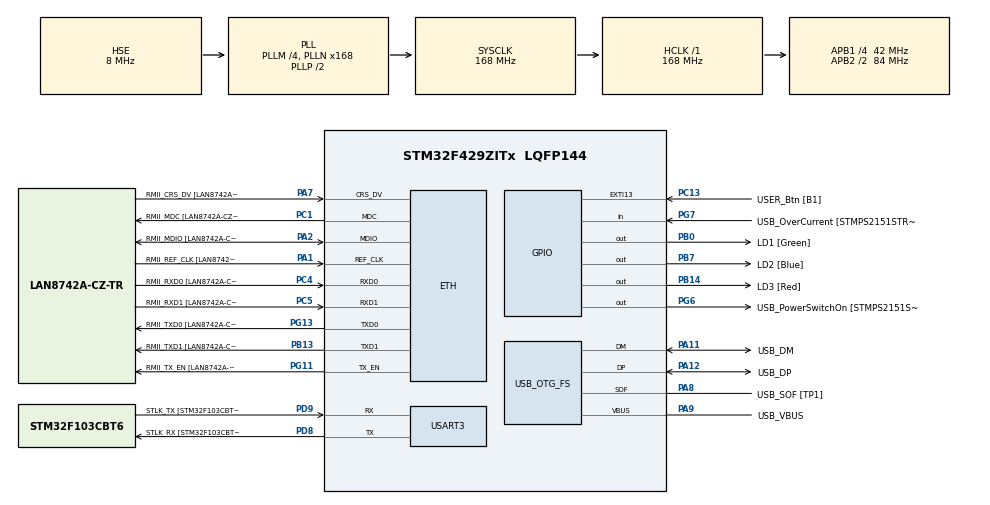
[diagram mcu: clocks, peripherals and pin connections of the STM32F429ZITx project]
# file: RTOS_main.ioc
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ETH.MediaInterface=HAL_ETH_RMII_MODE
ETH.PHY_Name=LAN8742A_PHY_ADDRESS
ETH.PHY_Value=0
ETH.PhyAddress=0
FREERTOS.Tasks01=defaultTask,24,128,StartDefaultTask,Default,NULL,Dynamic,NULL,NULL
Mcu.Family=STM32F4
Mcu.Name=STM32F429ZITx
Mcu.Package=LQFP144
NVIC.PriorityGroup=NVIC_PRIORITYGROUP_4
PA1.GPIO_Label=RMII_REF_CLK [LAN8742A-CZ-TR_REFCLK0]
PA1.Mode=RMII
PA1.Signal=ETH_REF_CLK
PA10.GPIO_Label=USB_ID
PA10.Signal=USB_OTG_FS_ID
PA11.GPIO_Label=USB_DM
PA11.Mode=Device_Only
PA11.Signal=USB_OTG_FS_DM
PA12.GPIO_Label=USB_DP
PA12.Mode=Device_Only
PA12.Signal=USB_OTG_FS_DP
PA13.GPIO_Label=TMS
PA13.Mode=Serial_Wire
PA13.Signal=SYS_JTMS-SWDIO
PA14.GPIO_Label=TCK
PA14.Mode=Serial_Wire
PA14.Signal=SYS_JTCK-SWCLK
PA2.GPIO_Label=RMII_MDIO [LAN8742A-CZ-TR_MDIO]
PA2.Mode=RMII
PA2.Signal=ETH_MDIO
PA7.GPIO_Label=RMII_CRS_DV [LAN8742A-CZ-TR_CRS_DV]
PA7.Mode=RMII
PA7.Signal=ETH_CRS_DV
PA8.GPIO_Label=USB_SOF [TP1]
PA8.Mode=Activate_SOF_FS
PA8.Signal=USB_OTG_FS_SOF
PA9.GPIO_Label=USB_VBUS
PA9.Mode=Activate_VBUS
PA9.Signal=USB_OTG_FS_VBUS
PB0.GPIO_Label=LD1 [Green]
PB0.Signal=GPIO_Output
PB13.GPIO_Label=RMII_TXD1 [LAN8742A-CZ-TR_TXD1]
PB13.Mode=RMII
PB13.Signal=ETH_TXD1
PB14.GPIO_Label=LD3 [Red]
PB14.Signal=GPIO_Output
PB7.GPIO_Label=LD2 [Blue]
PB7.Signal=GPIO_Output
PC1.GPIO_Label=RMII_MDC [LAN8742A-CZ-TR_MDC]
PC1.Mode=RMII
PC1.Signal=ETH_MDC
PC13.GPIO_Label=USER_Btn [B1]
PC13.Signal=GPXTI13
PC14/OSC32_IN.Mode=LSE-External-Oscillator
PC14/OSC32_IN.Signal=RCC_OSC32_IN
PC15/OSC32_OUT.Mode=LSE-External-Oscillator
PC15/OSC32_OUT.Signal=RCC_OSC32_OUT
PC4.GPIO_Label=RMII_RXD0 [LAN8742A-CZ-TR_RXD0]
PC4.Mode=RMII
PC4.Signal=ETH_RXD0
PC5.GPIO_Label=RMII_RXD1 [LAN8742A-CZ-TR_RXD1]
PC5.Mode=RMII
PC5.Signal=ETH_RXD1
PD8.GPIO_Label=STLK_RX [STM32F103CBT6_PA3]
PD8.Mode=Asynchronous
PD8.Signal=USART3_TX
PD9.GPIO_Label=STLK_TX [STM32F103CBT6_PA2]
PD9.Mode=Asynchronous
PD9.Signal=USART3_RX
PG11.GPIO_Label=RMII_TX_EN [LAN8742A-CZ-TR_TXEN]
PG11.Mode=RMII
PG11.Signal=ETH_TX_EN
PG13.GPIO_Label=RMII_TXD0 [LAN8742A-CZ-TR_TXD0]
PG13.Mode=RMII
PG13.Signal=ETH_TXD0
PG6.GPIO_Label=USB_PowerSwitchOn [STMPS2151STR_EN]
PG6.Signal=GPIO_Output
PG7.GPIO_Label=USB_OverCurrent [STMPS2151STR_FAULT]
PG7.Signal=GPIO_Input
PH0/OSC_IN.GPIO_Label=MCO [STM32F103CBT6_PA8]
PH0/OSC_IN.Mode=HSE-External-Clock-Source
PH0/OSC_IN.Signal=RCC_OSC_IN
PH1/OSC_OUT.Mode=HSE-External-Clock-Source
PH1/OSC_OUT.Signal=RCC_OSC_OUT
ProjectManager.HeapSize=0x200
ProjectManager.StackSize=0x400
ProjectManager.TargetToolchain=STM32CubeIDE
RCC.48MHZClocksFreq_Value=48000000
RCC.AHBFreq_Value=168000000
RCC.APB1CLKDivider=RCC_HCLK_DIV4
RCC.APB1Freq_Value=42000000
RCC.APB1TimFreq_Value=84000000
RCC.APB2CLKDivider=RCC_HCLK_DIV2
RCC.APB2Freq_Value=84000000
RCC.APB2TimCLKDivider=2
RCC.APB2TimFreq_Value=168000000
RCC.CortexFreq_Value=168000000
RCC.HCLKFreq_Value=168000000
RCC.HSE_VALUE=8000000
RCC.HSI_VALUE=16000000
RCC.PLLM=4
RCC.PLLMUL=RCC_PLL_MUL9
RCC.PLLN=168
RCC.PLLQ=7
RCC.PRESCALERUSB=RCC_USBCLKSOURCE_PLL_DIV1_5
RCC.SYSCLKFreq_VALUE=168000000
RCC.SYSCLKSource=RCC_SYSCLKSOURCE_PLLCLK
RCC.SYSCLKSourceVirtual=RCC_SYSCLKSOURCE_PLLCLK
RCC.USBFreq_Value=48000000
RCC.VCOOutputFreq_Value=336000000
USART3.VirtualMode=VM_ASYNC
USB_OTG_FS.VirtualMode=Device_Only
VP_FREERTOS_VS_CMSIS_V2.Mode=CMSIS_V2
board=NUCLEO-F429ZI

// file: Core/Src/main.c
/* USER CODE BEGIN Header */
/**
  ******************************************************************************
  * @file           : main.c
  * @brief          : Main program body
  ******************************************************************************
  * @attention
  *
  * Copyright (c) 2026 STMicroelectronics.
  * All rights reserved.
  *
  * This software is licensed under terms that can be found in the LICENSE file
  * in the root directory of this software component.
  * If no LICENSE file comes with this software, it is provided AS-IS.
  *
  ******************************************************************************
  */
/* USER CODE END Header */
#include "main.h"
#include "string.h"
#include "cmsis_os.h"

/* USER CODE BEGIN Includes */
#include "uart.h"
#include "i2c.h"
/* USER CODE END Includes */

/* USER CODE BEGIN PD */
#define INA3221_Shunt1	(1)
#define INA3221_Bus1	(2)
#define INA3221_Shunt2	(3)
#define INA3221_Bus2	(4)
#define INA3221_Shunt3	(5)
#define INA3221_Bus3	(6)

#define INA226_Config	(0)
#define INA226_Shunt	(1)
#define INA226_Bus		(2)
#define INA226_Power    (3)
#define INA226_Cali     (5)
/* USER CODE END PD */

ETH_TxPacketConfig TxConfig;
ETH_DMADescTypeDef  DMARxDscrTab[ETH_RX_DESC_CNT]; /* Ethernet Rx DMA Descriptors */
ETH_DMADescTypeDef  DMATxDscrTab[ETH_TX_DESC_CNT]; /* Ethernet Tx DMA Descriptors */

ETH_HandleTypeDef heth;

UART_HandleTypeDef huart3;

PCD_HandleTypeDef hpcd_USB_OTG_FS;

/* Definitions for defaultTask */
osThreadId_t defaultTaskHandle;
const osThreadAttr_t defaultTask_attributes = {
  .name = "defaultTask",
  .stack_size = 128 * 4,
  .priority = (osPriority_t) osPriorityNormal,
};

void SystemClock_Config(void);
static void MX_GPIO_Init(void);
static void MX_ETH_Init(void);
static void MX_USART3_UART_Init(void);
static void MX_USB_OTG_FS_PCD_Init(void);
void StartDefaultTask(void *argument);

/* USER CODE BEGIN PFP */
void Current_Task(void *argument);
/* USER CODE END PFP */

int main(void)
{

  /* MCU Configuration--------------------------------------------------------*/

  /* Reset of all peripherals, Initializes the Flash interface and the Systick. */
  HAL_Init();

  /* Configure the system clock */
  SystemClock_Config();

  /* Initialize all configured peripherals */
  MX_GPIO_Init();
  MX_ETH_Init();
  MX_USART3_UART_Init();
  MX_USB_OTG_FS_PCD_Init();
  /* USER CODE BEGIN 2 */
  I2C1_init();
  UART3_Printf("init i2c\n");
  /* USER CODE END 2 */

  /* Init scheduler */
  osKernelInitialize();

  /* Create the thread(s) */
  /* creation of defaultTask */
  defaultTaskHandle = osThreadNew(StartDefaultTask, NULL, &defaultTask_attributes);

  /* USER CODE BEGIN RTOS_THREADS */
  BaseType_t ret = xTaskCreate(Current_Task, "current sensor", 128*4,NULL, osPriorityNormal,NULL);
  if (ret != pdPASS){
  	UART3_Printf("current task error\n\r");
  }
  /* USER CODE END RTOS_THREADS */

  /* USER CODE BEGIN RTOS_EVENTS */
  NVIC_SetPriority(I2C1_EV_IRQn, 5);
  NVIC_EnableIRQ(I2C1_EV_IRQn);
  UART3_Printf("start kernel\n");
  /* USER CODE END RTOS_EVENTS */

  /* Start scheduler */
  osKernelStart();

  /* We should never get here as control is now taken by the scheduler */

  /* Infinite loop */
  while (1)
  {

  }
}

void SystemClock_Config(void)
{
  RCC_OscInitTypeDef RCC_OscInitStruct = {0};
  RCC_ClkInitTypeDef RCC_ClkInitStruct = {0};

  /** Configure the main internal regulator output voltage
  */
  __HAL_RCC_PWR_CLK_ENABLE();
  __HAL_PWR_VOLTAGESCALING_CONFIG(PWR_REGULATOR_VOLTAGE_SCALE1);

  /** Initializes the RCC Oscillators according to the specified parameters
  * in the RCC_OscInitTypeDef structure.
  */
  RCC_OscInitStruct.OscillatorType = RCC_OSCILLATORTYPE_HSE;
  RCC_OscInitStruct.HSEState = RCC_HSE_BYPASS;
  RCC_OscInitStruct.PLL.PLLState = RCC_PLL_ON;
  RCC_OscInitStruct.PLL.PLLSource = RCC_PLLSOURCE_HSE;
  RCC_OscInitStruct.PLL.PLLM = 4;
  RCC_OscInitStruct.PLL.PLLN = 168;
  RCC_OscInitStruct.PLL.PLLP = RCC_PLLP_DIV2;
  RCC_OscInitStruct.PLL.PLLQ = 7;
  if (HAL_RCC_OscConfig(&RCC_OscInitStruct) != HAL_OK)
  {
    Error_Handler();
  }

  /** Initializes the CPU, AHB and APB buses clocks
  */
  RCC_ClkInitStruct.ClockType = RCC_CLOCKTYPE_HCLK|RCC_CLOCKTYPE_SYSCLK
                              |RCC_CLOCKTYPE_PCLK1|RCC_CLOCKTYPE_PCLK2;
  RCC_ClkInitStruct.SYSCLKSource = RCC_SYSCLKSOURCE_PLLCLK;
  RCC_ClkInitStruct.AHBCLKDivider = RCC_SYSCLK_DIV1;
  RCC_ClkInitStruct.APB1CLKDivider = RCC_HCLK_DIV4;
  RCC_ClkInitStruct.APB2CLKDivider = RCC_HCLK_DIV2;

  if (HAL_RCC_ClockConfig(&RCC_ClkInitStruct, FLASH_LATENCY_5) != HAL_OK)
  {
    Error_Handler();
  }
}

static void MX_ETH_Init(void)
{

   static uint8_t MACAddr[6];

  heth.Instance = ETH;
  MACAddr[0] = 0x00;
  MACAddr[1] = 0x80;
  MACAddr[2] = 0xE1;
  MACAddr[3] = 0x00;
  MACAddr[4] = 0x00;
  MACAddr[5] = 0x00;
  heth.Init.MACAddr = &MACAddr[0];
  heth.Init.MediaInterface = HAL_ETH_RMII_MODE;
  heth.Init.TxDesc = DMATxDscrTab;
  heth.Init.RxDesc = DMARxDscrTab;
  heth.Init.RxBuffLen = 1524;

  if (HAL_ETH_Init(&heth) != HAL_OK)
  {
    Error_Handler();
  }

  memset(&TxConfig, 0 , sizeof(ETH_TxPacketConfig));
  TxConfig.Attributes = ETH_TX_PACKETS_FEATURES_CSUM | ETH_TX_PACKETS_FEATURES_CRCPAD;
  TxConfig.ChecksumCtrl = ETH_CHECKSUM_IPHDR_PAYLOAD_INSERT_PHDR_CALC;
  TxConfig.CRCPadCtrl = ETH_CRC_PAD_INSERT;

}

static void MX_USART3_UART_Init(void)
{

  huart3.Instance = USART3;
  huart3.Init.BaudRate = 115200;
  huart3.Init.WordLength = UART_WORDLENGTH_8B;
  huart3.Init.StopBits = UART_STOPBITS_1;
  huart3.Init.Parity = UART_PARITY_NONE;
  huart3.Init.Mode = UART_MODE_TX_RX;
  huart3.Init.HwFlowCtl = UART_HWCONTROL_NONE;
  huart3.Init.OverSampling = UART_OVERSAMPLING_16;
  if (HAL_UART_Init(&huart3) != HAL_OK)
  {
    Error_Handler();
  }

}

static void MX_USB_OTG_FS_PCD_Init(void)
{

  hpcd_USB_OTG_FS.Instance = USB_OTG_FS;
  hpcd_USB_OTG_FS.Init.dev_endpoints = 4;
  hpcd_USB_OTG_FS.Init.speed = PCD_SPEED_FULL;
  hpcd_USB_OTG_FS.Init.dma_enable = DISABLE;
  hpcd_USB_OTG_FS.Init.phy_itface = PCD_PHY_EMBEDDED;
  hpcd_USB_OTG_FS.Init.Sof_enable = ENABLE;
  hpcd_USB_OTG_FS.Init.low_power_enable = DISABLE;
  hpcd_USB_OTG_FS.Init.lpm_enable = DISABLE;
  hpcd_USB_OTG_FS.Init.vbus_sensing_enable = ENABLE;
  hpcd_USB_OTG_FS.Init.use_dedicated_ep1 = DISABLE;
  if (HAL_PCD_Init(&hpcd_USB_OTG_FS) != HAL_OK)
  {
    Error_Handler();
  }

}

static void MX_GPIO_Init(void)
{
  GPIO_InitTypeDef GPIO_InitStruct = {0};

  /* GPIO Ports Clock Enable */
  __HAL_RCC_GPIOC_CLK_ENABLE();
  __HAL_RCC_GPIOH_CLK_ENABLE();
  __HAL_RCC_GPIOA_CLK_ENABLE();
  __HAL_RCC_GPIOB_CLK_ENABLE();
  __HAL_RCC_GPIOD_CLK_ENABLE();
  __HAL_RCC_GPIOG_CLK_ENABLE();

  /*Configure GPIO pin Output Level */
  HAL_GPIO_WritePin(GPIOB, LD1_Pin|LD3_Pin|LD2_Pin, GPIO_PIN_RESET);

  /*Configure GPIO pin Output Level */
  HAL_GPIO_WritePin(USB_PowerSwitchOn_GPIO_Port, USB_PowerSwitchOn_Pin, GPIO_PIN_RESET);

  /*Configure GPIO pin : USER_Btn_Pin */
  GPIO_InitStruct.Pin = USER_Btn_Pin;
  GPIO_InitStruct.Mode = GPIO_MODE_IT_RISING;
  GPIO_InitStruct.Pull = GPIO_NOPULL;
  HAL_GPIO_Init(USER_Btn_GPIO_Port, &GPIO_InitStruct);

  /*Configure GPIO pins : LD1_Pin LD3_Pin LD2_Pin */
  GPIO_InitStruct.Pin = LD1_Pin|LD3_Pin|LD2_Pin;
  GPIO_InitStruct.Mode = GPIO_MODE_OUTPUT_PP;
  GPIO_InitStruct.Pull = GPIO_NOPULL;
  GPIO_InitStruct.Speed = GPIO_SPEED_FREQ_LOW;
  HAL_GPIO_Init(GPIOB, &GPIO_InitStruct);

  /*Configure GPIO pin : USB_PowerSwitchOn_Pin */
  GPIO_InitStruct.Pin = USB_PowerSwitchOn_Pin;
  GPIO_InitStruct.Mode = GPIO_MODE_OUTPUT_PP;
  GPIO_InitStruct.Pull = GPIO_NOPULL;
  GPIO_InitStruct.Speed = GPIO_SPEED_FREQ_LOW;
  HAL_GPIO_Init(USB_PowerSwitchOn_GPIO_Port, &GPIO_InitStruct);

  /*Configure GPIO pin : USB_OverCurrent_Pin */
  GPIO_InitStruct.Pin = USB_OverCurrent_Pin;
  GPIO_InitStruct.Mode = GPIO_MODE_INPUT;
  GPIO_InitStruct.Pull = GPIO_NOPULL;
  HAL_GPIO_Init(USB_OverCurrent_GPIO_Port, &GPIO_InitStruct);

}

/* USER CODE BEGIN 4 */
void Current_Task(void *argument)
{
  /* USER CODE BEGIN 5 */
	init_ina3221();
	init_ina226();
	UART3_Printf("senser init\n");
  /* Infinite loop */
	for(;;)
	{
		UART3_Printf("start loop\n");

		// ==========================================================
		// 1. INA3221
		// ==========================================================
		// 상위 13비트만 유효 >> 3
		int16_t bus3221_raw   = (int16_t)I2C1_read(3221, INA3221_Bus1) >> 3;
		int16_t shunt3221_raw = (int16_t)I2C1_read(3221, INA3221_Shunt1) >> 3;

		UART3_Printf("ina3221 shunt1 raw : %d\n", shunt3221_raw);
		UART3_Printf("ina3221 bus1 raw   : %d\n", bus3221_raw);

		// Bus 단위 = 8mV
		int32_t bus3221_mv = bus3221_raw * 8;

		// Shunt 단위 = 40uV (0.04mV). 전류(mA) = (raw * 40uV) === 0.1옴 = (raw * 4) / 10 mA
		int32_t current3221_ma = (shunt3221_raw * 4) / 10; // 0.1옴 기준 mA 단위

		int32_t power3221_mw = (bus3221_mv * current3221_ma) / 1000;

		UART3_Printf("INA3221 -> Bus: %ld mV | Cur: %ld mA | Power: %ld mW\n", bus3221_mv, current3221_ma, power3221_mw);

		// ==========================================================
		// 2. INA226
		// ==========================================================
		int16_t bus226_raw   = (int16_t)I2C1_read(226, INA226_Bus);
		int16_t shunt226_raw = (int16_t)I2C1_read(226, INA226_Shunt);
		int16_t power226_raw = (int16_t)I2C1_read(226, INA226_Power);

		UART3_Printf("ina226 shunt raw : %d\n", shunt226_raw);
		UART3_Printf("ina226 bus raw   : %d\n", bus226_raw);

		// Bus 단위 = 1.25mV
		int32_t bus226_mv = (bus226_raw * 125) / 100;

		// Shunt 단위 = 2.5uV. 전류(mA) = (raw * 2.5uV) === 0.1옴 = (raw * 25) / 1000 mA
		int32_t current226_ma = (shunt226_raw * 25) / 1000;

		// 전력 계산 (연산 vs Power 레지스터 읽기)
		int32_t power226_calc_mw = (bus226_mv * current226_ma) / 1000;
		int32_t power226_reg_mw  = (int32_t)(power226_raw * 7.619);

		UART3_Printf("INA226  -> Bus: %ld mV | Cur: %ld mA | Calc Power: %ld mW\n", bus226_mv, current226_ma, power226_calc_mw); // 연산
		UART3_Printf("INA226 Reg Power: %ld mW\n", power226_reg_mw); // 레지스터 연산과 비교
		UART3_Printf("end loop\n");
		for (volatile int i = 0; i < 5000000; i++){};
	}
  /* USER CODE END 5 */
}
/* USER CODE END 4 */

void StartDefaultTask(void *argument)
{
  /* USER CODE BEGIN 5 */
//	init_ina3221();
//	init_ina226();
//	UART3_Printf("senser init\n");
//  /* Infinite loop */
	for(;;)
	{
		UART3_Printf("round robin!!!!\n");
		for (volatile int i = 0; i < 5000000; i++){};
	}
  /* USER CODE END 5 */
}

void Error_Handler(void)
{
  __disable_irq();
  while (1)
  {
  }
}
